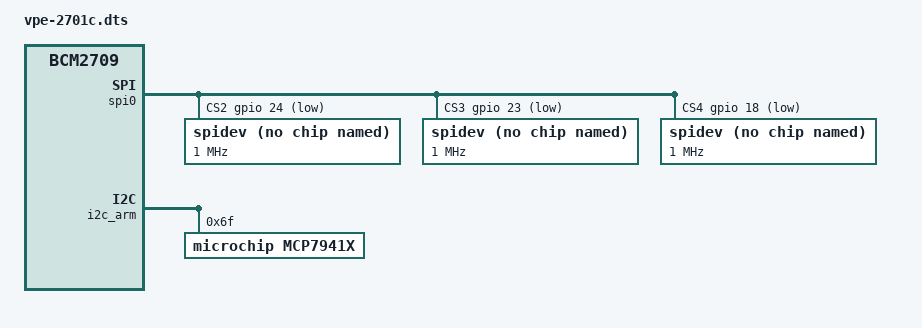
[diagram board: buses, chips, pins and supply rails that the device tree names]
/dts-v1/;
/plugin/;

/ {
	compatible = "brcm,bcm2835", "brcm,bcm2836", "brcm,bcm2708", "brcm,bcm2709";

	fragment@0 {
		target = <&spi0>;
		frag0: __overlay__ {
			#address-cells = <1>;
			#size-cells = <0>;
			status = "okay";
			cs-gpios = 
				<&gpio 8 1>,		/* CE0 */ 
				<&gpio 7 1>,		/* CE1 */
				<&gpio 24 1>,		/* CE2 */
   			<&gpio 23 1>,		/* CE3 */
				<&gpio 18 1>;		/* CE4 */

			spidev@2{
				compatible = "spidev";
				reg = <2>;	/* CE2 */
				#address-cells = <1>;
				#size-cells = <0>;
				spi-max-frequency = <1000000>;
			};

			spidev@3{
				compatible = "spidev";
				reg = <3>;	/* CE3 */
				#address-cells = <1>;
				#size-cells = <0>;
				spi-max-frequency = <1000000>;
			};

			spidev@4{
				compatible = "spidev";
				reg = <4>;	/* CE4 */
				#address-cells = <1>;
				#size-cells = <0>;
				spi-max-frequency = <1000000>;
			};

		};
	};

	fragment@1 {
		target = <&spi0_cs_pins>;
		frag1: __overlay__ {
			brcm,pins = <8 7 18 23 24>;
		};
	};

	fragment@2 {
		target = <&i2c_arm>;
		frag2: __overlay__ {
			#address-cells = <1>;
			#size-cells = <0>;
			status = "okay";

			mcp7941x: mcp7941x@6f {
				compatible = "microchip,mcp7941x";
				reg = <0x6f>;
				status = "okay";
			};
		};
	};
};
